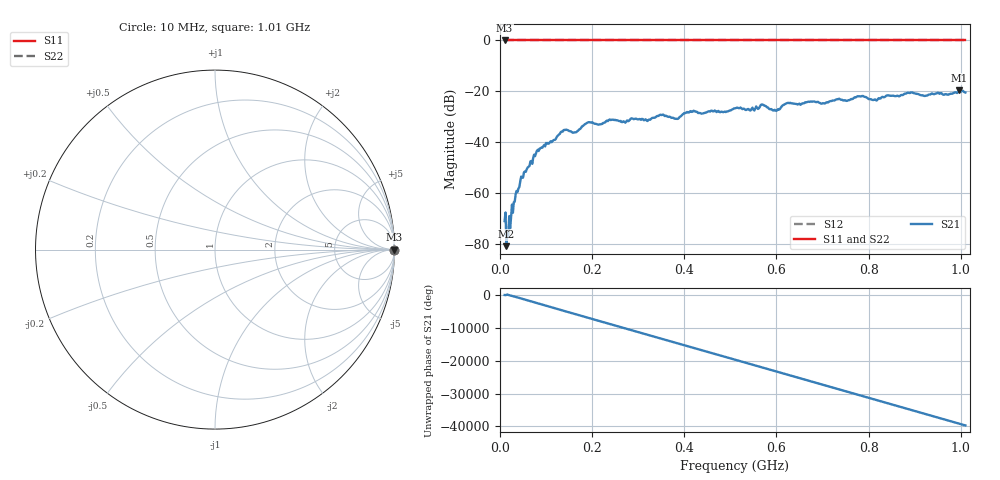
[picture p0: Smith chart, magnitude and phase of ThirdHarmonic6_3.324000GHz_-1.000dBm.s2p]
! 8/17/2025 10:25:29 AM
! C:\ANRITSUVNA\TEMP\TEMP.S2P
! CHANNEL.1
! TR.MEASUREMENT
! RAW.DATA
! RF.CORRECTION.OFF
! AVERAGING.OFF
! IF.BANDWIDTH: 5KHZ
! SWEEPTYPE:  FREQ.SWEEP(Linear)
! Reference Plane Port Info
! PORT:  PORT1  PORT2
! DISTANCE:  0  m  0  m
! TIME:  0  s  0  s
! PHASE.OFFSET:  0  deg.  0  deg.
! LOSS:  0  dB  0  dB
! REF.LOSS:  0  dB  0  dB
! REF.FREQ:  0  Hz  0  Hz
! Power Info
! POWER:  -20  dBm  -20  dBm
! EFF.POWER:  -20  dBm  -20  dBm
! SOURCE.ATTEN:  0  dB  0  dB
! TEST.ATTEN:  0  dB  0  dB
# GHZ S RI R 50.0
! FREQ.GHZ  S11RE  S11IM  S21RE  S21IM  S12RE  S12IM  S22RE  S22IM
!; PortSelection: Port_12
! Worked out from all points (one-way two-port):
!   501 points, 10 MHz to 1.01 GHz, reference 50 ohm
!   highest |S21| = -19.58 dB at 996 MHz (marker M1); lowest = -80.9 dB at 14 MHz (marker M2)
!   lowest |S11| = 0.0 dB at 10 MHz (marker M3)
!   |S11| at or under -10 dB: nowhere
!   |S22| runs from 0.0 to 0.0 dB; largest |S21 - S12| = 1.1
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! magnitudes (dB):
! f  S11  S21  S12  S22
! 10 MHz  0.0  -71.1  0.0  0.0
! 14 MHz  0.0  -80.9  0.0  0.0
! 18 MHz  0.0  -76.8  0.0  0.0
! 30 MHz  0.0  -63.6  0.0  0.0
! 48 MHz  0.0  -54.0  0.0  0.0
! 78 MHz  0.0  -44.5  0.0  0.0
! 136 MHz  0.0  -35.8  0.0  0.0
! 162 MHz  0.0  -36.1  0.0  0.0
! 178 MHz  0.0  -33.8  0.0  0.0
! 192 MHz  0.0  -32.1  0.0  0.0
! 322 MHz  0.0  -31.3  0.0  0.0
! 344 MHz  0.0  -29.7  0.0  0.0
! 384 MHz  0.0  -30.8  0.0  0.0
! 416 MHz  0.0  -28.1  0.0  0.0
! 510 MHz  0.0  -26.7  0.0  0.0
! 570 MHz  0.0  -25.3  0.0  0.0
! 596 MHz  0.0  -27.3  0.0  0.0
! 624 MHz  0.0  -24.6  0.0  0.0
! 678 MHz  0.0  -24.0  0.0  0.0
! 844 MHz  0.0  -21.7  0.0  0.0
! 996 MHz  0.0  -19.6  0.0  0.0
! 1.01 GHz  0.0  -20.5  0.0  0.0
